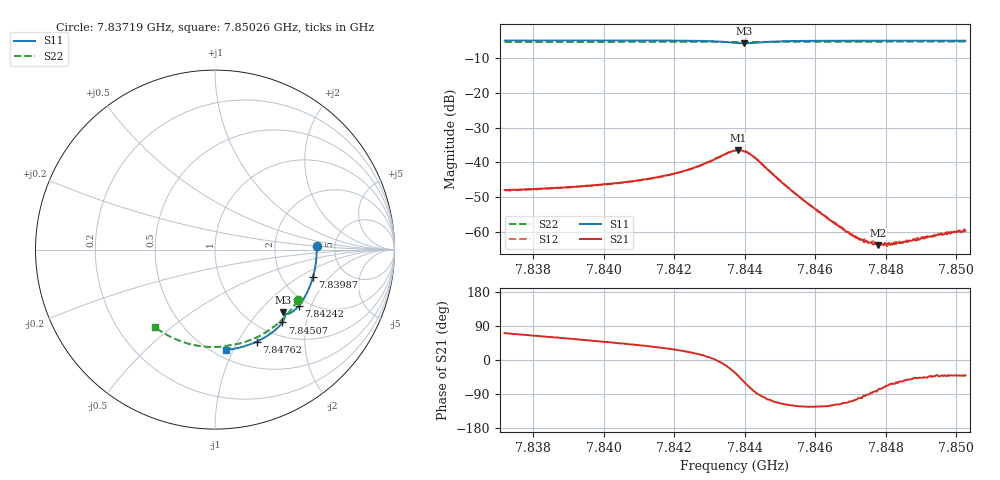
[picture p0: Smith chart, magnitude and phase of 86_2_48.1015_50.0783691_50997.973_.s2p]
#  HZ  S  RI  R  50.00
! Rohde & Schwarz Vector Network Analyzer
! Rohde-Schwarz,ZNB20-2Port,1311601062101988,3.16
! Created: UTC 12/23/2023, 3:43:17 AM
! freq[Hz]  re:S11  im:S11  re:S21  im:S21  re:S12  im:S12  re:S22  im:S22
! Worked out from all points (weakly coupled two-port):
!   401 points, 7.83719 GHz to 7.85026 GHz, reference 50 ohm
!   highest |S21| = -36.46 dB at 7.84383 GHz (marker M1); lowest = -63.9 dB at 7.84778 GHz (marker M2)
!   lowest |S11| = -5.8 dB at 7.84399 GHz (marker M3), VSWR 3.13, Z = 72.7 - j68.9 ohm
!   |S11| at or under -10 dB: nowhere
!   |S22| runs from -5.4 to -5.3 dB; largest |S21 - S12| = 0.00033
!   S11 on the Smith chart (normalised r, x): 7.83719 GHz: 3.60, +0.24; 7.83987 GHz: 2.94, -1.34; 7.84242 GHz: 1.79, -1.64; 7.84507 GHz: 1.25, -1.46; 7.84762 GHz: 0.80, -1.21; 7.85026 GHz: 0.57, -0.94
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7.837194e9  0.5659 0.0225  0.0013 0.00377  0.00132 0.00368  0.4602 -0.2818
7.839384e9  0.5536 -0.1227  0.0027 0.00364  0.00267 0.00361  0.3632 -0.4003
7.839874e9  0.5454 -0.1546  0.00308 0.0036  0.00305 0.0036  0.3371 -0.4226
7.840821e9  0.524 -0.2151  0.00402 0.00348  0.00398 0.00348  0.2829 -0.4613
7.841573e9  0.5014 -0.2621  0.00517 0.00337  0.0051 0.00336  0.2369 -0.4867
7.842422e9  0.4672 -0.313  0.00736 0.00281  0.00731 0.00284  0.1817 -0.5099
7.843239e9  0.4182 -0.3541  0.0116 -0.00046  0.0116 -0.000463  0.1263 -0.5257
7.843729e9  0.3836 -0.3559  0.0123 -0.00827  0.0122 -0.00812  0.0933 -0.5309
7.843827e9  0.3803 -0.3524  0.0111 -0.0101  0.0109 -0.0101  0.0873 -0.5319
7.843991e9  0.3804 -0.3479  0.00757 -0.0122  0.0077 -0.0123  0.0771 -0.5336
7.844154e9  0.3849 -0.3489  0.00381 -0.0127  0.004 -0.0126  0.0666 -0.5354
7.844383e9  0.3896 -0.3595  3.12e-05 -0.0107  0.000122 -0.0106  0.0515 -0.5382
7.845069e9  0.3744 -0.406  -0.00218 -0.00457  -0.00215 -0.0046  0.00346 -0.5427
7.845918e9  0.3322 -0.4507  -0.00125 -0.00191  -0.00126 -0.00192  -0.0566 -0.5407
7.846964e9  0.2728 -0.4918  -0.000329 -0.000893  -0.000339 -0.000921  -0.1291 -0.5289
7.847291e9  0.2533 -0.5025  -0.00013 -0.000773  -0.00012 -0.000779  -0.1514 -0.5232
7.847617e9  0.2334 -0.5121  3.75e-05 -0.000681  4.42e-05 -0.000722  -0.1734 -0.5165
7.847781e9  0.2234 -0.5167  0.000126 -0.000624  0.000116 -0.000646  -0.1842 -0.5129
7.848108e9  0.2031 -0.5252  0.000281 -0.000591  0.000269 -0.000639  -0.2054 -0.505
7.8485e9  0.1785 -0.534  0.0004 -0.000591  0.000395 -0.000571  -0.2309 -0.494
7.849219e9  0.1322 -0.5473  0.000615 -0.000581  0.000665 -0.000597  -0.2757 -0.4708
7.850264e9  0.0638 -0.559  0.000786 -0.000667  0.000814 -0.000687  -0.3367 -0.4302
